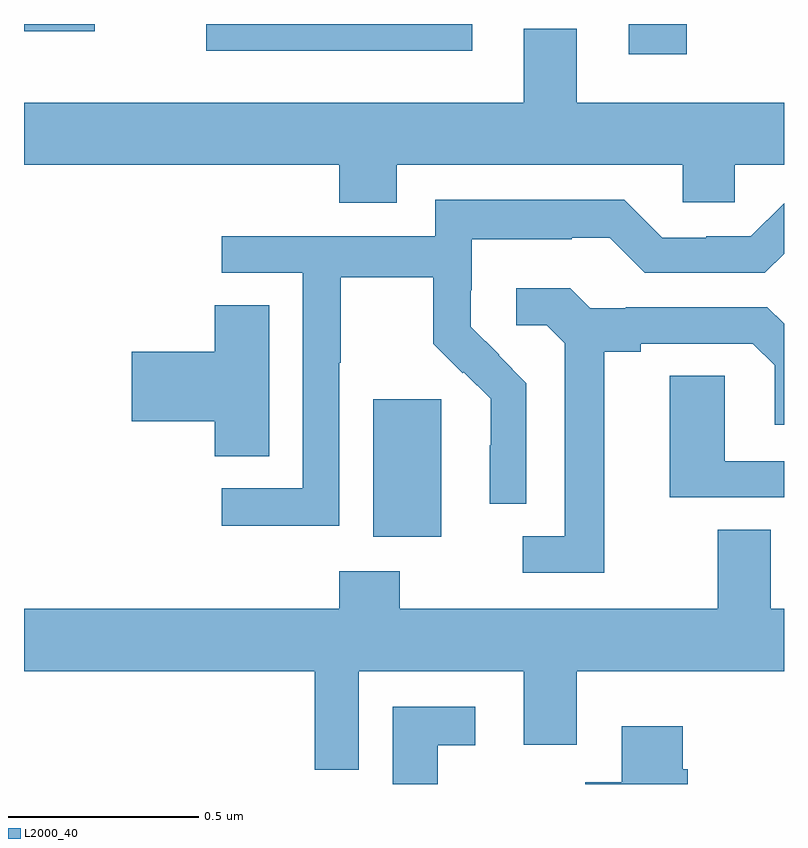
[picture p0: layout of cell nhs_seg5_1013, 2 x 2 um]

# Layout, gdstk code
import gdstk
lib = gdstk.Library(unit=1e-6, precision=1e-09)
def R(c, l, rs):  # rectangles x0, y0, x1, y1
    for r in rs: c.add(gdstk.rectangle(r[:2], r[2:], *l))
def P(c, l, *ps):  # polygons
    for p in ps: c.add(gdstk.Polygon(p, *l))
L2000_40 = (2000, 40)

nhs_seg5_1013 = lib.new_cell('nhs_seg5_1013')
R(nhs_seg5_1013, L2000_40, [(124.919,854.45,125.098,854.811), (125.591,855.72,125.744,855.799), (124.479,855.728,125.179,855.799), (124,855.78,124.186,855.799)])
P(nhs_seg5_1013, L2000_40, [(124.981,855.428),(125.733,855.428),(125.733,855.33),(125.871,855.33),(125.871,855.428),(126,855.428),(126,855.592),(125.455,855.592),(125.455,855.787),(125.315,855.787),(125.315,855.592),(124,855.592),(124,855.428),(124.829,855.428),(124.829,855.329),(124.981,855.329)],
  [(124.83,854.908),(124.833,854.908),(124.833,855.132),(125.077,855.132),(125.077,854.957),(125.154,854.88),(125.157,854.883),(125.228,854.813),(125.228,854.69),(125.226,854.69),(125.226,854.536),(125.322,854.536),(125.322,854.854),(125.249,854.927),(125.25,854.928),(125.176,855.002),(125.176,855.099),(125.178,855.099),(125.178,855.233),(125.441,855.233),(125.441,855.237),(125.541,855.237),(125.634,855.144),(125.949,855.144),(126,855.195),(126,855.327),(125.913,855.24),(125.795,855.24),(125.795,855.237),(125.679,855.237),(125.579,855.337),(125.082,855.337),(125.082,855.24),(124.521,855.24),(124.521,855.144),(124.734,855.144),(124.734,854.577),(124.521,854.577),(124.521,854.479),(124.83,854.479)],
  [(125.527,854.936),(125.623,854.936),(125.623,854.958),(125.918,854.958),(125.975,854.901),(125.975,854.745),(126,854.745),(126,855.01),(125.956,855.054),(125.584,855.054),(125.584,855.051),(125.49,855.051),(125.438,855.103),(125.295,855.103),(125.295,855.006),(125.376,855.006),(125.423,854.959),(125.423,854.451),(125.313,854.451),(125.313,854.355),(125.527,854.355)],
  [(124.645,855.059),(124.502,855.059),(124.502,854.936),(124.284,854.936),(124.284,854.753),(124.502,854.753),(124.502,854.662),(124.645,854.662)],
  [(126,854.649),(125.844,854.649),(125.844,854.873),(125.699,854.873),(125.699,854.553),(126,854.553)],
  [(124.881,854.096),(125.315,854.096),(125.315,853.902),(125.455,853.902),(125.455,854.096),(126,854.096),(126,854.26),(125.965,854.26),(125.965,854.468),(125.825,854.468),(125.825,854.26),(124.989,854.26),(124.989,854.359),(124.829,854.359),(124.829,854.26),(124,854.26),(124,854.096),(124.765,854.096),(124.765,853.836),(124.881,853.836)],
  [(125.089,853.901),(125.188,853.901),(125.188,854.002),(124.97,854.002),(124.97,853.799),(125.089,853.799)],
  [(125.747,853.838),(125.734,853.838),(125.734,853.951),(125.573,853.951),(125.573,853.804),(125.477,853.804),(125.477,853.799),(125.747,853.799)])

lib.write_gds('nhs_seg5_1013.gds')
